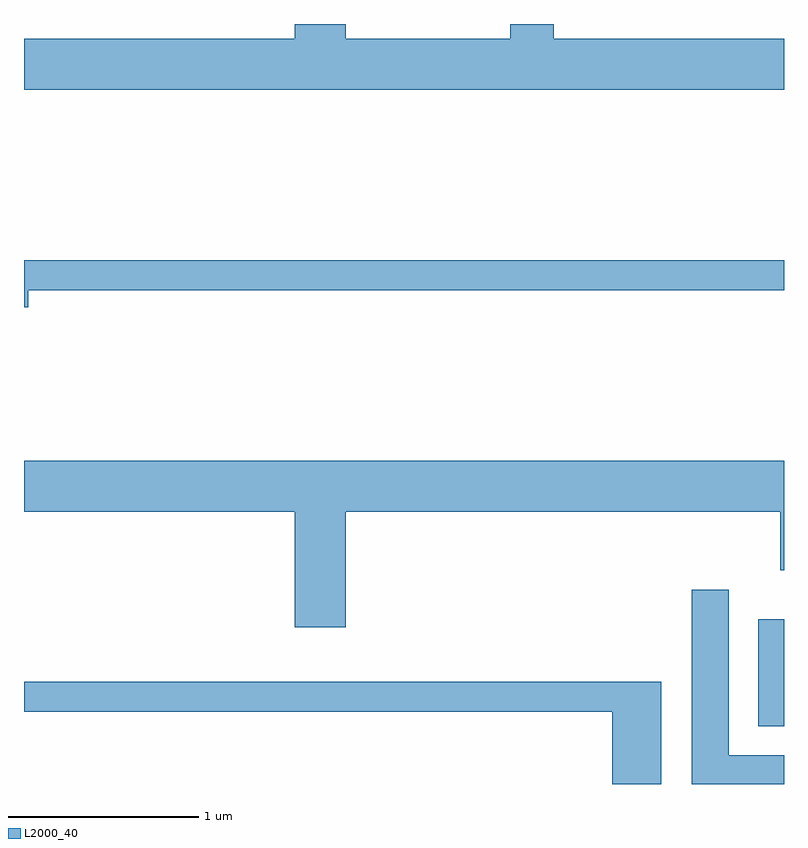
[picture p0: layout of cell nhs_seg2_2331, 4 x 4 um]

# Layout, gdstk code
import gdstk
lib = gdstk.Library(unit=1e-6, precision=1e-09)
def R(c, l, rs):  # rectangles x0, y0, x1, y1
    for r in rs: c.add(gdstk.rectangle(r[:2], r[2:], *l))
def P(c, l, *ps):  # polygons
    for p in ps: c.add(gdstk.Polygon(p, *l))
L2000_40 = (2000, 40)

nhs_seg2_2331 = lib.new_cell('nhs_seg2_2331')
R(nhs_seg2_2331, L2000_40, [(257.476,1016.106,257.611,1016.669)])
P(nhs_seg2_2331, L2000_40, [(257.611,1019.724),(256.399,1019.724),(256.399,1019.802),(256.171,1019.802),(256.171,1019.724),(255.304,1019.724),(255.304,1019.802),(255.036,1019.802),(255.036,1019.724),(253.611,1019.724),(253.611,1019.456),(257.611,1019.456)],
  [(253.634,1018.401),(257.611,1018.401),(257.611,1018.559),(253.611,1018.559),(253.611,1018.311),(253.634,1018.311)],
  [(255.304,1017.236),(257.591,1017.236),(257.591,1016.926),(257.611,1016.926),(257.611,1017.504),(253.611,1017.504),(253.611,1017.236),(255.036,1017.236),(255.036,1016.626),(255.304,1016.626)],
  [(257.611,1015.954),(257.319,1015.954),(257.319,1016.824),(257.126,1016.824),(257.126,1015.802),(257.611,1015.802)],
  [(256.964,1016.339),(253.611,1016.339),(253.611,1016.181),(256.706,1016.181),(256.706,1015.802),(256.964,1015.802)])

lib.write_gds('nhs_seg2_2331.gds')
